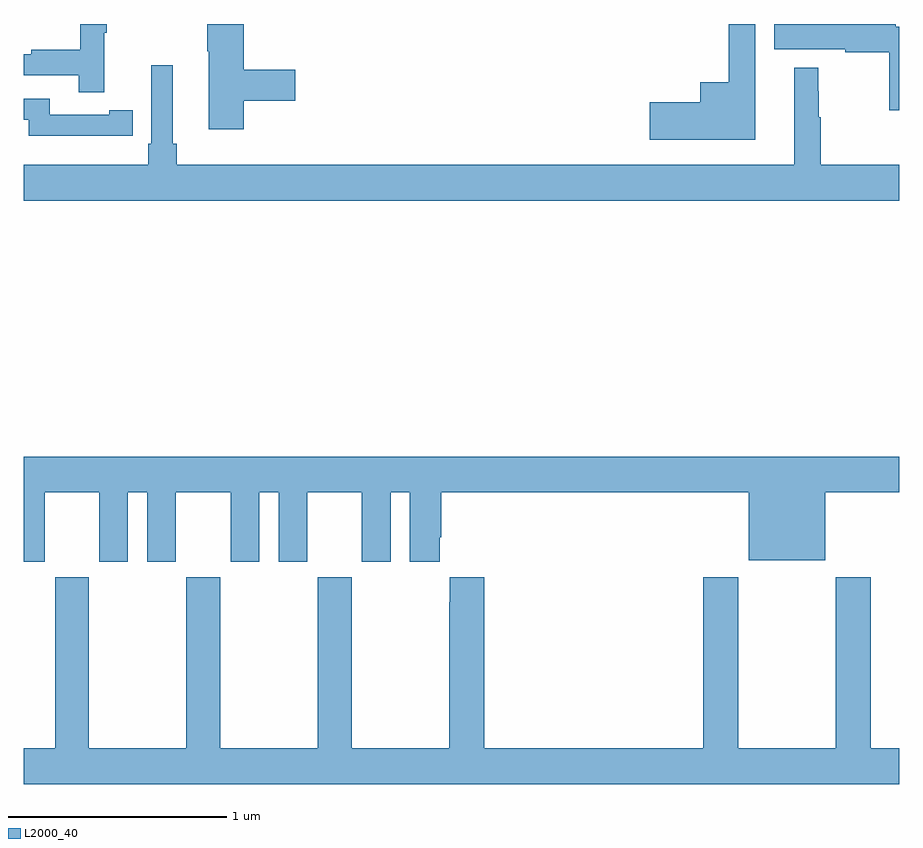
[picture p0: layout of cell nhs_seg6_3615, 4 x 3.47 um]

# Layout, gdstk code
import gdstk
lib = gdstk.Library(unit=1e-6, precision=1e-09)
def P(c, l, *ps):  # polygons
    for p in ps: c.add(gdstk.Polygon(p, *l))
L2000_40 = (2000, 40)

nhs_seg6_3615 = lib.new_cell('nhs_seg6_3615')
P(nhs_seg6_3615, L2000_40, [(327,925.488),(326.984,925.488),(326.984,925.5),(326.429,925.5),(326.429,925.385),(326.752,925.385),(326.752,925.372),(326.953,925.372),(326.953,925.107),(327,925.107)],
  [(323.369,925.459),(323.38,925.459),(323.38,925.5),(323.259,925.5),(323.259,925.382),(323.035,925.382),(323.035,925.362),(323,925.362),(323,925.266),(323.251,925.266),(323.251,925.188),(323.369,925.188)],
  [(324.005,925.15),(324.241,925.15),(324.241,925.292),(324.005,925.292),(324.005,925.5),(323.839,925.5),(323.839,925.375),(323.846,925.375),(323.846,925.02),(324.005,925.02)],
  [(326.341,925.5),(326.22,925.5),(326.22,925.234),(326.09,925.234),(326.09,925.142),(325.86,925.142),(325.86,924.971),(326.341,924.971)],
  [(327,924.856),(326.641,924.856),(326.641,925.073),(326.633,925.073),(326.633,925.193),(326.63,925.193),(326.63,925.3),(326.519,925.3),(326.519,924.856),(323.699,924.856),(323.699,924.952),(323.68,924.952),(323.68,925.312),(323.583,925.312),(323.583,924.952),(323.57,924.952),(323.57,924.856),(323,924.856),(323,924.692),(327,924.692)],
  [(323.39,924.99),(323.498,924.99),(323.498,925.106),(323.39,925.106),(323.39,925.086),(323.118,925.086),(323.118,925.158),(323,925.158),(323,925.062),(323.022,925.062),(323.022,924.989),(323.39,924.989)],
  [(323.095,923.36),(323.345,923.36),(323.345,923.043),(323.476,923.043),(323.476,923.36),(323.564,923.36),(323.564,923.043),(323.695,923.043),(323.695,923.36),(323.945,923.36),(323.945,923.043),(324.076,923.043),(324.076,923.36),(324.164,923.36),(324.164,923.043),(324.295,923.043),(324.295,923.36),(324.545,923.36),(324.545,923.043),(324.676,923.043),(324.676,923.36),(324.764,923.36),(324.764,923.043),(324.901,923.043),(324.901,923.155),(324.908,923.155),(324.908,923.36),(326.312,923.36),(326.312,923.051),(326.662,923.051),(326.662,923.36),(327,923.36),(327,923.524),(323,923.524),(323,923.043),(323.095,923.043)],
  [(327,922.192),(326.87,922.192),(326.87,922.972),(326.71,922.972),(326.71,922.192),(326.265,922.192),(326.265,922.972),(326.105,922.972),(326.105,922.192),(325.103,922.192),(325.103,922.972),(324.947,922.972),(324.947,922.859),(324.943,922.859),(324.943,922.192),(324.498,922.192),(324.498,922.972),(324.343,922.972),(324.343,922.192),(323.898,922.192),(323.898,922.972),(323.743,922.972),(323.743,922.192),(323.298,922.192),(323.298,922.972),(323.143,922.972),(323.143,922.192),(323,922.192),(323,922.028),(327,922.028)])

lib.write_gds('nhs_seg6_3615.gds')
